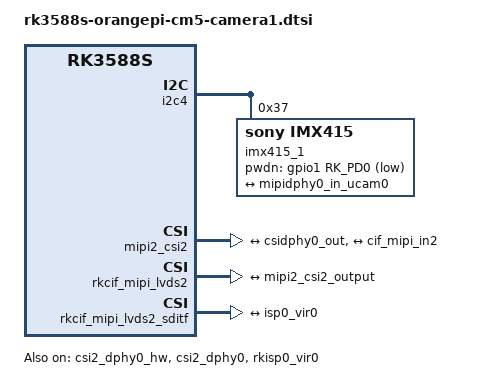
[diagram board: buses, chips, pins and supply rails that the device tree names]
// SPDX-License-Identifier: (GPL-2.0+ OR MIT)
/*
 * Copyright (c) 2021 Rockchip Electronics Co., Ltd.
 *
 */

&csi2_dphy0_hw {
	status = "okay";
};

&csi2_dphy0 {
	status = "okay";
	ports {
		#address-cells = <1>;
		#size-cells = <0>;
		port@0 {
			reg = <0>;
			#address-cells = <1>;
			#size-cells = <0>;

			mipidphy0_in_ucam0: endpoint@1 {
				reg = <1>;
				remote-endpoint = <&imx415_1_out1>;
				data-lanes = <1 2 3 4>;
			};

		};
		port@1 {
		        reg = <1>;
		        #address-cells = <1>;
		        #size-cells = <0>;
		        csidphy0_out: endpoint@0 {
		                reg = <0>;
		                remote-endpoint = <&mipi2_csi2_input>;
		        };
		};
	};
};

&i2c4 {
	status = "okay";
	pinctrl-names = "default";
	pinctrl-0 = <&i2c4m3_xfer>;


	imx415_1: imx415-1@37 {
		status = "okay";
		compatible = "sony,imx415";
		reg = <0x37>;
		//clocks = <&ext_cam_ov5647_clk>;
		clocks = <&cru CLK_MIPI_CAMARAOUT_M1>;
		clock-names = "xvclk";
		pinctrl-names = "default";
		pinctrl-0 = <&mipim0_camera1_clk>;
		power-domains = <&power RK3588_PD_VI>;
		pwdn-gpios = <&gpio1 RK_PD0 GPIO_ACTIVE_LOW>;				//IR CUT OFF ON
		

		rockchip,camera-module-index = <0>;
		rockchip,camera-module-facing = "back";
		rockchip,camera-module-name = "WaveShare-IMX415";
		rockchip,camera-module-lens-name = "default";
		port {
			imx415_1_out1: endpoint {
				remote-endpoint = <&mipidphy0_in_ucam0>;
				data-lanes = <1 2 3 4>;								//15Pin Supports only 2 Lanes
			};
		};
	};
};

&mipi2_csi2 {
	status = "okay";
	ports {
		#address-cells = <1>;
		#size-cells = <0>;
		port@0 {
			reg = <0>;
			#address-cells = <1>;
			#size-cells = <0>;
			mipi2_csi2_input: endpoint@1 {
				reg = <1>;
				remote-endpoint = <&csidphy0_out>;
			};
		};
		port@1 {
			reg = <1>;
			#address-cells = <1>;
			#size-cells = <0>;
			mipi2_csi2_output: endpoint@0 {
				reg = <0>;
				remote-endpoint = <&cif_mipi_in2>;
			};
		};
	};
};

&rkcif_mipi_lvds2 {
	status = "okay";
	port {
		cif_mipi_in2: endpoint {
			remote-endpoint = <&mipi2_csi2_output>;
		};
	};
};

&rkcif_mipi_lvds2_sditf {
	status = "okay";
	port {
		mipi2_lvds_sditf: endpoint {
			remote-endpoint = <&isp0_vir0>;
		};
	};
};

&rkisp0_vir0 {
	status = "okay";
	port {
		#address-cells = <1>;
		#size-cells = <0>;
		isp0_vir0: endpoint@0 {
			reg = <0>;
			remote-endpoint = <&mipi2_lvds_sditf>;
		};
	};
};
